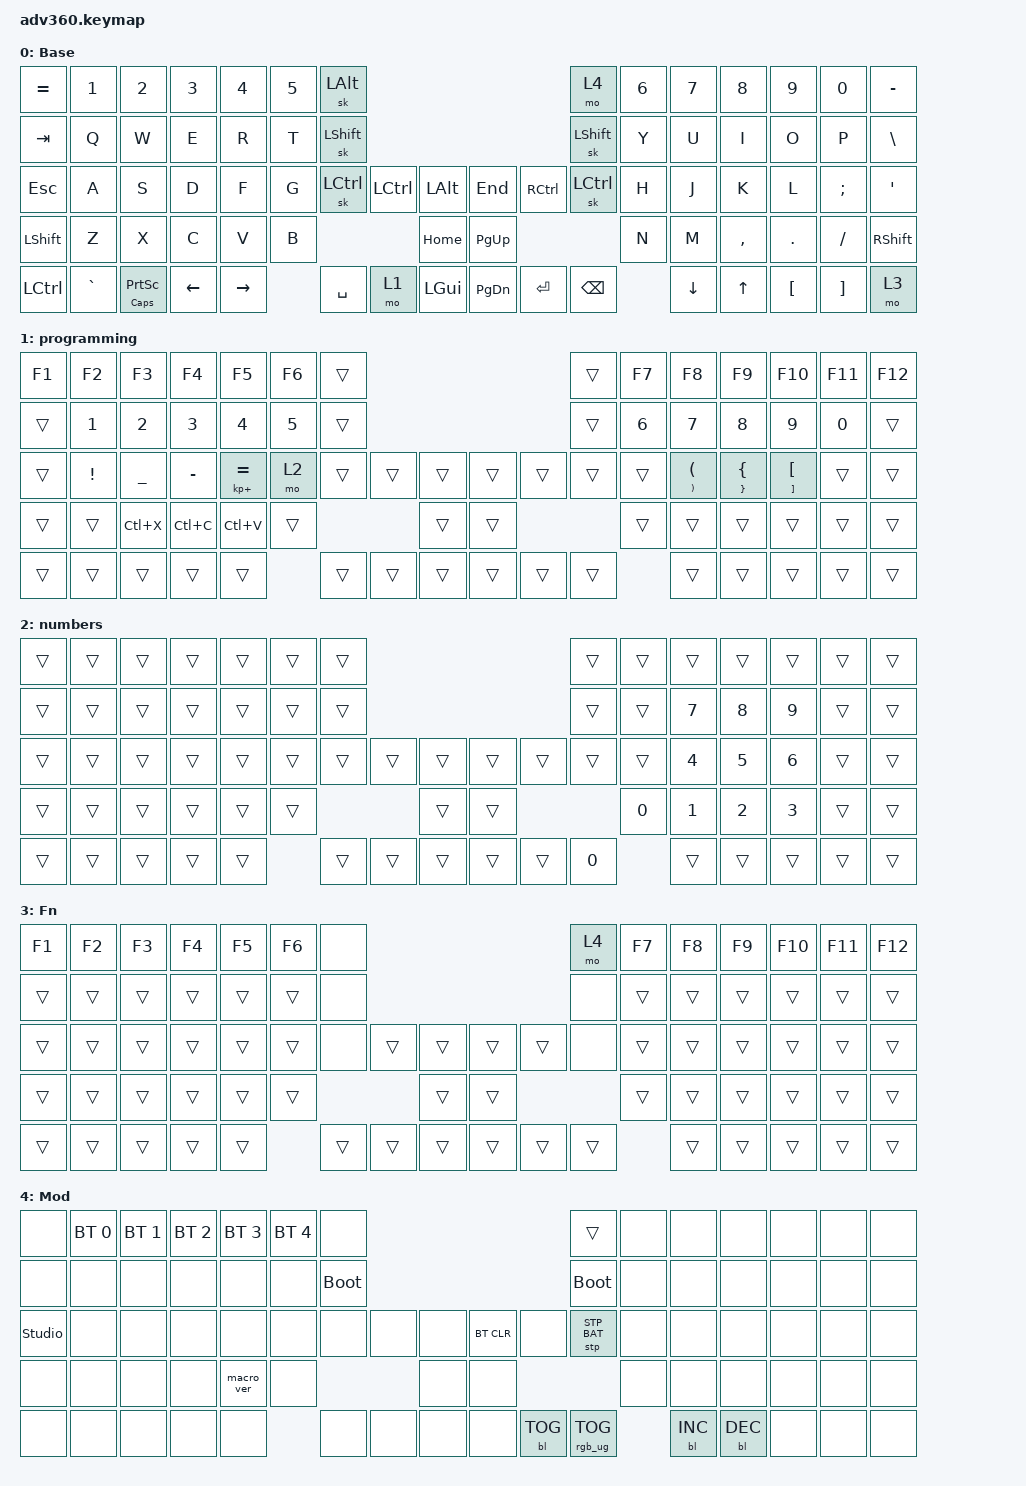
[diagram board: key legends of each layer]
#include <dt-bindings/zmk/stp.h>
#include <behaviors.dtsi>
#include <dt-bindings/zmk/backlight.h>
#include <dt-bindings/zmk/bt.h>
#include <dt-bindings/zmk/keys.h>
#include <dt-bindings/zmk/rgb.h>

/ {
    behaviors {
        #include "macros.dtsi"
      #include "version.dtsi"

        hm: homerow_mods {
            compatible = "zmk,behavior-hold-tap";
            label = "HOMEROW_MODS";
            #binding-cells = <2>;
            tapping-term-ms = <200>;
            quick_tap_ms = <175>;
            flavor = "tap-preferred";
            bindings = <&kp>, <&kp>;
        };
    };

    keymap {
        compatible = "zmk,keymap";

        default_layer {
            display-name = "Base";
            bindings = <
&kp EQUAL  &kp N1     &kp N2                &kp N3    &kp N4     &kp N5  &sk LALT                                                   &mo 4           &kp N6  &kp N7    &kp N8        &kp N9    &kp N0    &kp MINUS
&kp TAB    &kp Q      &kp W                 &kp E     &kp R      &kp T   &sk LSHIFT                                                 &sk LEFT_SHIFT  &kp Y   &kp U     &kp I         &kp O     &kp P     &kp BSLH
&kp ESC    &kp A      &kp S                 &kp D     &kp F      &kp G   &sk LCTRL   &kp LCTRL  &kp LALT      &kp END    &kp RCTRL  &sk LCTRL       &kp H   &kp J     &kp K         &kp L     &kp SEMI  &kp SQT
&kp LSHFT  &kp Z      &kp X                 &kp C     &kp V      &kp B                          &kp HOME      &kp PG_UP                             &kp N   &kp M     &kp COMMA     &kp DOT   &kp FSLH  &kp RSHFT
&kp LCTRL  &kp GRAVE  &mt CAPS PRINTSCREEN  &kp LEFT  &kp RIGHT          &kp SPACE   &mo 1      &kp LGUI      &kp PG_DN  &kp ENTER  &kp BACKSPACE           &kp DOWN  &kp UP_ARROW  &kp LBKT  &kp RBKT  &mo 3
            >;
        };

        programming {
            bindings = <
&kp F1  &kp F2           &kp F3          &kp F4     &kp F5             &kp F6  &trans                                      &trans  &kp F7  &kp F8                                  &kp F9                      &kp F10                         &kp F11  &kp F12
&trans  &kp N1           &kp N2          &kp N3     &kp N4             &kp N5  &trans                                      &trans  &kp N6  &kp N7                                  &kp N8                      &kp N9                          &kp N0   &trans
&trans  &kp EXCLAMATION  &kp UNDERSCORE  &kp MINUS  &mt KP_PLUS EQUAL  &mo 2   &trans  &trans  &trans      &trans  &trans  &trans  &trans  &mt RIGHT_PARENTHESIS LEFT_PARENTHESIS  &mt RIGHT_BRACE LEFT_BRACE  &mt RIGHT_BRACKET LEFT_BRACKET  &trans   &trans
&trans  &trans           &kp LC(X)       &kp LC(C)  &kp LC(V)          &trans                  &trans      &trans                  &trans  &trans                                  &trans                      &trans                          &trans   &trans
&trans  &trans           &trans          &trans     &trans                     &trans  &trans  &trans      &trans  &trans  &trans          &trans                                  &trans                      &trans                          &trans   &trans
            >;
        };

        numbers {
            bindings = <
&trans  &trans  &trans  &trans  &trans  &trans  &trans                                      &trans  &trans  &trans  &trans  &trans  &trans  &trans
&trans  &trans  &trans  &trans  &trans  &trans  &trans                                      &trans  &trans  &kp N7  &kp N8  &kp N9  &trans  &trans
&trans  &trans  &trans  &trans  &trans  &trans  &trans  &trans  &trans      &trans  &trans  &trans  &trans  &kp N4  &kp N5  &kp N6  &trans  &trans
&trans  &trans  &trans  &trans  &trans  &trans                  &trans      &trans                  &kp N0  &kp N1  &kp N2  &kp N3  &trans  &trans
&trans  &trans  &trans  &trans  &trans          &trans  &trans  &trans      &trans  &trans  &kp N0          &trans  &trans  &trans  &trans  &trans
            >;
        };

        fn {
            display-name = "Fn";
            bindings = <
&kp F1  &kp F2  &kp F3  &kp F4  &kp F5  &kp F6  &none                                       &mo 4   &kp F7  &kp F8  &kp F9  &kp F10  &kp F11  &kp F12
&trans  &trans  &trans  &trans  &trans  &trans  &none                                       &none   &trans  &trans  &trans  &trans   &trans   &trans
&trans  &trans  &trans  &trans  &trans  &trans  &none   &trans  &trans      &trans  &trans  &none   &trans  &trans  &trans  &trans   &trans   &trans
&trans  &trans  &trans  &trans  &trans  &trans                  &trans      &trans                  &trans  &trans  &trans  &trans   &trans   &trans
&trans  &trans  &trans  &trans  &trans          &trans  &trans  &trans      &trans  &trans  &trans          &trans  &trans  &trans   &trans   &trans
            >;
        };

        mod {
            display-name = "Mod";
            bindings = <
&none           &bt BT_SEL 0  &bt BT_SEL 1  &bt BT_SEL 2  &bt BT_SEL 3  &bt BT_SEL 4  &none                                                  &trans           &none  &none       &none       &none  &none  &none
&none           &none         &none         &none         &none         &none         &bootloader                                            &bootloader      &none  &none       &none       &none  &none  &none
&studio_unlock  &none         &none         &none         &none         &none         &none        &none  &none      &bt BT_CLR  &none       &stp STP_BAT     &none  &none       &none       &none  &none  &none
&none           &none         &none         &none         &macro_ver    &none                             &none      &none                                    &none  &none       &none       &none  &none  &none
&none           &none         &none         &none         &none                       &none        &none  &none      &none       &bl BL_TOG  &rgb_ug RGB_TOG         &bl BL_INC  &bl BL_DEC  &none  &none  &none
            >;
        };
    };
};
